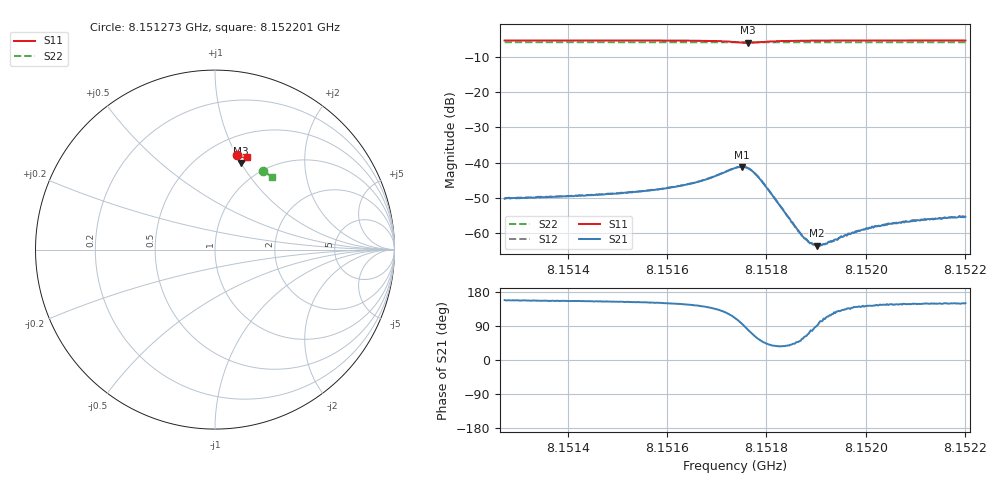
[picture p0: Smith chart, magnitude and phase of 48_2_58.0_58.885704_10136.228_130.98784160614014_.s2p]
#  HZ  S  RI  R  50.00
! Rohde & Schwarz Vector Network Analyzer
! Rohde-Schwarz,ZNB20-2Port,1311601062101988,3.16
! Created: UTC 3/21/2024, 12:52:22 AM
! freq[Hz]  re:S11  im:S11  re:S21  im:S21  re:S12  im:S12  re:S22  im:S22
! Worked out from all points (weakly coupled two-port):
!   401 points, 8.151273 GHz to 8.152201 GHz, reference 50 ohm
!   highest |S21| = -41.20 dB at 8.151751 GHz (marker M1); lowest = -63.6 dB at 8.151902 GHz (marker M2)
!   lowest |S11| = -5.9 dB at 8.151762 GHz (marker M3), VSWR 3.04, Z = 38.6 + j50.1 ohm
!   |S11| at or under -10 dB: nowhere
!   |S22| runs from -5.8 to -5.8 dB; largest |S21 - S12| = 0.00015
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8.1512729e9  0.1248 0.5289  -0.00286 0.00114  -0.00288 0.00124  0.2686 0.4384
8.1514283e9  0.137 0.526  -0.0031 0.00143  -0.00311 0.00148  0.2771 0.4327
8.1515002e9  0.143 0.5243  -0.00327 0.00162  -0.0033 0.00168  0.2808 0.4301
8.1515838e9  0.1508 0.5213  -0.00366 0.00204  -0.00364 0.00212  0.2854 0.427
8.151658e9  0.1598 0.5158  -0.00426 0.00307  -0.00423 0.0032  0.2893 0.4239
8.1516928e9  0.1649 0.5095  -0.00454 0.00434  -0.0045 0.00444  0.2913 0.4225
8.1517369e9  0.1639 0.4902  -0.00302 0.00783  -0.00289 0.0079  0.293 0.4203
8.1517508e9  0.1554 0.4836  -0.000862 0.00867  -0.000745 0.00874  0.2934 0.4194
8.1517624e9  0.1448 0.4832  0.00139 0.00826  0.00146 0.00829  0.2935 0.4193
8.151774e9  0.1361 0.4888  0.00301 0.00671  0.0031 0.00675  0.2939 0.4192
8.1517879e9  0.1322 0.4987  0.00358 0.00452  0.00367 0.00452  0.2945 0.419
8.1518691e9  0.1483 0.5184  0.000611 0.00075  0.000631 0.000758  0.2996 0.4167
8.1518807e9  0.1501 0.5188  0.000357 0.000711  0.000365 0.000736  0.3002 0.4161
8.1518923e9  0.1518 0.5189  0.000158 0.000681  0.000148 0.000694  0.3008 0.4158
8.1519016e9  0.1532 0.519  -3.12e-06 0.000658  4.62e-07 0.000661  0.3014 0.4153
8.1519085e9  0.1541 0.5191  -0.000145 0.000656  -0.00012 0.000648  0.3018 0.415
8.1519178e9  0.1554 0.519  -0.000215 0.000656  -0.000214 0.000664  0.3021 0.4146
8.1519758e9  0.1619 0.5183  -0.000764 0.000645  -0.000765 0.00068  0.3053 0.4125
8.1520176e9  0.1658 0.5176  -0.000997 0.000732  -0.000993 0.000743  0.3076 0.4108
8.1520477e9  0.1684 0.517  -0.00112 0.000734  -0.00109 0.000751  0.3091 0.4095
8.1520965e9  0.1724 0.5161  -0.00128 0.000797  -0.00127 0.000831  0.3114 0.4076
8.1522009e9  0.1805 0.5137  -0.00148 0.000855  -0.00146 0.000924  0.3168 0.4033
